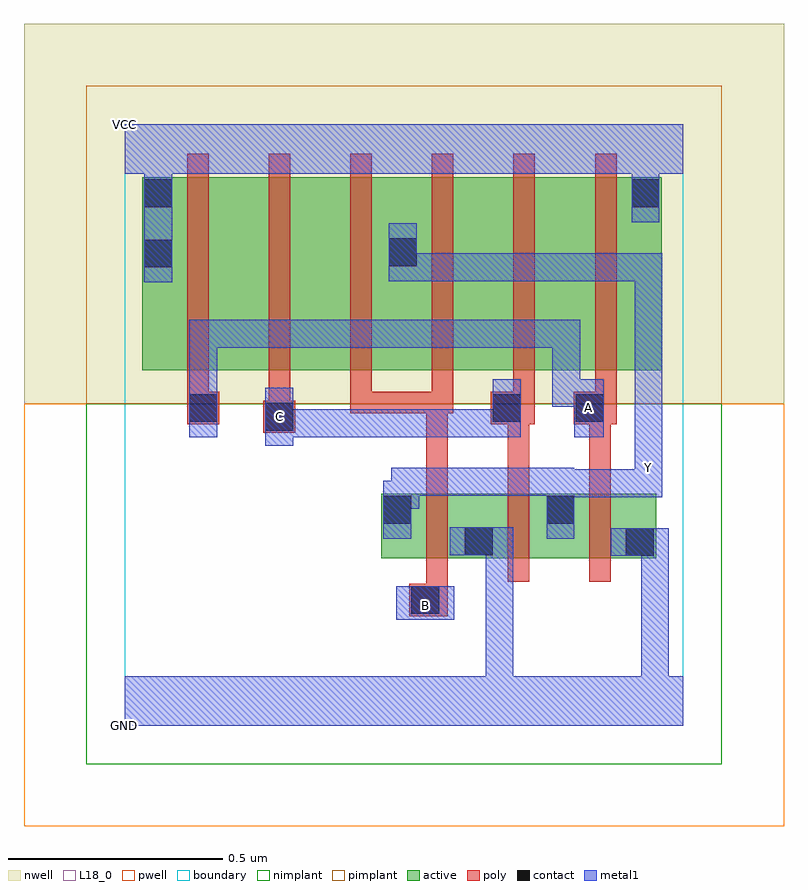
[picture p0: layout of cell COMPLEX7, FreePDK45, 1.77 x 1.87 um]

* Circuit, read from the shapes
.subckt COMPLEX7 A B C GND VCC Y
M1 GND B Y VSUBS nfet w=0.15u l=0.05u
M2 Y C GND VSUBS nfet w=0.15u l=0.05u
M3 GND A Y VSUBS nfet w=0.15u l=0.05u
M4 n1 A VCC n2 pfet w=0.45u l=0.05u
M5 n3 C n1 n2 pfet w=0.45u l=0.05u
M6 Y B n3 n2 pfet w=0.45u l=0.05u
M7 n4 B Y n2 pfet w=0.45u l=0.05u
M8 n5 C n4 n2 pfet w=0.45u l=0.05u
M9 VCC A n5 n2 pfet w=0.45u l=0.05u
.ends

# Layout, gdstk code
import gdstk
lib = gdstk.Library(unit=1e-6, precision=1e-09)
def R(c, l, rs):  # rectangles x0, y0, x1, y1
    for r in rs: c.add(gdstk.rectangle(r[:2], r[2:], *l))
def A(c, l, x, y, w, h, nx, ny, dx, dy):  # array of equal rectangles
    R(c, l, [(x+i*dx, y+j*dy, x+i*dx+w, y+j*dy+h) for i in range(nx) for j in range(ny)])
active = (1, 0)
pwell = (2, 0)
nwell = (3, 0)
nimplant = (4, 0)
pimplant = (5, 0)
poly = (9, 0)
contact = (10, 0)
metal1 = (11, 0)
L18_0 = (18, 0)
boundary = (235, 0)

complex7 = lib.new_cell('COMPLEX7')
R(complex7, active, [(0.597,0.39,0.672,0.54), (0.597,0.39,0.862,0.54), (0.787,0.39,1.052,0.54), (0.787,0.39,0.862,0.467), (0.977,0.39,1.052,0.54), (0.977,0.39,1.237,0.54), (1.162,0.39,1.237,0.54), (0.04,0.827,0.115,1.277), (0.04,0.827,0.265,1.277), (0.265,0.827,0.455,1.277), (0.455,0.827,0.685,1.277), (0.61,0.827,0.835,1.277), (0.835,0.827,1.025,1.277), (1.025,0.827,1.25,1.277), (1.175,0.827,1.25,1.277), (0.61,0.857,0.685,1.2)])
R(complex7, pwell, [(-0.235,-0.235,1.535,0.75)])
R(complex7, nwell, [(-0.235,0.75,1.535,1.635)])
R(complex7, nimplant, [(-0.09,-0.09,1.39,0.75)])
R(complex7, pimplant, [(-0.09,0.75,1.39,1.49)])
A(complex7, poly, 0.702, 0.335, 0.05, 0.26, 3, 1, 0.19, 0)
A(complex7, poly, 0.525, 0.727, 0.05, 0.095, 4, 1, 0.19, 0)
A(complex7, poly, 0.145, 0.772, 0.05, 0.56, 6, 1, 0.19, 0)
R(complex7, poly, [(0.662,0.255,0.752,0.33), (0.702,0.28,0.752,0.385), (0.702,0.545,0.752,0.777), (0.892,0.545,0.942,0.752), (1.082,0.545,1.132,0.752), (0.322,0.682,0.397,0.757), (0.145,0.702,0.22,0.777), (0.852,0.702,0.955,0.777), (1.045,0.702,1.145,0.777), (0.335,0.707,0.385,0.822), (0.145,0.727,0.195,0.822), (0.525,0.727,0.752,0.777), (0.525,0.727,0.575,0.777), (0.525,0.727,0.575,0.777), (0.525,0.727,0.575,0.777), (0.702,0.727,0.765,0.777)])
R(complex7, contact, [(0.667,0.26,0.732,0.325), (1.167,0.395,1.232,0.46), (0.792,0.397,0.857,0.462), (0.602,0.47,0.667,0.535), (0.982,0.47,1.047,0.535), (0.327,0.687,0.392,0.752), (0.15,0.707,0.215,0.772), (0.857,0.707,0.922,0.772), (1.05,0.707,1.115,0.772), (0.045,1.067,0.11,1.132), (0.615,1.07,0.68,1.135), (0.045,1.207,0.11,1.272), (1.18,1.207,1.245,1.272)])
R(complex7, metal1, [(0,0,1.3,0.115), (0.84,0.05,0.905,0.115), (0.84,0.05,0.905,0.115), (0.84,0.05,0.905,0.462), (1.202,0.05,1.267,0.46), (0.632,0.247,0.767,0.325), (1.132,0.395,1.267,0.46), (1.202,0.395,1.267,0.46), (1.202,0.395,1.267,0.46), (1.202,0.395,1.267,0.46), (1.202,0.395,1.267,0.46), (1.202,0.395,1.267,0.46), (1.202,0.395,1.267,0.46), (0.757,0.397,0.905,0.462), (0.84,0.397,0.905,0.462), (0.84,0.397,0.905,0.462), (0.84,0.397,0.905,0.462), (0.84,0.397,0.905,0.462), (0.602,0.435,0.667,0.57), (0.982,0.435,1.047,0.6), (0.602,0.505,0.685,0.57), (0.62,0.505,0.685,0.6), (0.982,0.532,1.252,0.597), (1.187,0.532,1.252,0.667), (1.187,0.532,1.252,0.597), (1.187,0.532,1.252,0.597), (1.187,0.532,1.252,0.597), (1.187,0.532,1.252,0.597), (0.62,0.535,0.91,0.6), (0.845,0.535,0.91,0.6), (0.845,0.535,0.91,0.6), (0.845,0.535,0.91,0.6), (0.845,0.535,1.047,0.6), (1.187,0.602,1.252,1.1), (0.327,0.652,0.392,0.787), (0.15,0.672,0.215,0.807), (0.327,0.672,0.392,0.737), (0.327,0.672,0.392,0.737), (0.327,0.672,0.547,0.737), (0.482,0.672,0.547,0.737), (0.482,0.672,0.685,0.737), (0.62,0.672,0.685,0.737), (0.62,0.672,0.685,0.737), (0.62,0.672,0.685,0.737), (0.62,0.672,0.91,0.737), (0.845,0.672,0.91,0.737), (0.845,0.672,0.922,0.737), (0.857,0.672,0.922,0.807), (1.047,0.672,1.115,0.807), (0.15,0.742,0.215,0.807), (0.15,0.742,0.215,0.807), (0.15,0.742,0.215,0.945), (0.995,0.742,1.06,0.807), (0.995,0.742,1.112,0.807), (0.995,0.742,1.06,0.945), (0.15,0.88,0.215,0.945), (0.15,0.88,0.392,0.945), (0.327,0.88,0.392,0.945), (0.327,0.88,0.53,0.945), (0.465,0.88,0.53,0.945), (0.465,0.88,0.53,0.945), (0.465,0.88,0.53,0.945), (0.465,0.88,0.685,0.945), (0.62,0.88,0.685,0.945), (0.62,0.88,0.772,0.945), (0.707,0.88,0.772,0.945), (0.707,0.88,0.91,0.945), (0.845,0.88,0.91,0.945), (0.845,0.88,0.91,0.945), (0.845,0.88,0.91,0.945), (0.845,0.88,1.06,0.945), (0.995,0.88,1.06,0.945), (0.045,1.032,0.11,1.307), (0.615,1.035,0.68,1.17), (0.615,1.035,0.772,1.1), (0.707,1.035,0.772,1.1), (0.707,1.035,0.91,1.1), (0.845,1.035,0.91,1.1), (0.845,1.035,0.975,1.1), (0.91,1.035,0.975,1.1), (0.91,1.035,1.047,1.1), (0.982,1.035,1.047,1.1), (0.982,1.035,1.252,1.1), (1.187,1.035,1.252,1.1), (1.187,1.035,1.252,1.1), (1.187,1.035,1.252,1.1), (1.187,1.035,1.252,1.1), (1.187,1.035,1.252,1.1), (1.18,1.172,1.245,1.307), (0.045,1.242,0.11,1.35), (1.18,1.242,1.245,1.35), (0,1.285,1.3,1.4)])
R(complex7, L18_0, [(0,0,1.3,0.115), (0.84,0.05,0.905,0.115), (0.84,0.05,0.905,0.115), (0.84,0.05,0.905,0.462), (1.202,0.05,1.267,0.46), (0.632,0.247,0.767,0.325), (0.667,0.247,0.732,0.312), (1.132,0.395,1.267,0.46), (1.202,0.395,1.267,0.46), (1.202,0.395,1.267,0.46), (1.202,0.395,1.267,0.46), (1.202,0.395,1.267,0.46), (1.202,0.395,1.267,0.46), (1.202,0.395,1.267,0.46), (0.757,0.397,0.905,0.462), (0.84,0.397,0.905,0.462), (0.84,0.397,0.905,0.462), (0.84,0.397,0.905,0.462), (0.84,0.397,0.905,0.462), (0.602,0.435,0.667,0.57), (0.982,0.435,1.047,0.6), (0.602,0.505,0.685,0.57), (0.62,0.505,0.685,0.6), (0.982,0.532,1.252,0.597), (1.187,0.532,1.252,0.667), (1.187,0.532,1.252,0.597), (1.187,0.532,1.252,0.597), (1.187,0.532,1.252,0.597), (1.187,0.532,1.252,0.597), (0.62,0.535,0.91,0.6), (0.845,0.535,0.91,0.6), (0.845,0.535,0.91,0.6), (0.845,0.535,0.91,0.6), (0.845,0.535,1.047,0.6), (1.187,0.567,1.252,0.632), (1.187,0.602,1.252,1.1), (0.327,0.652,0.392,0.787), (0.15,0.672,0.215,0.807), (0.327,0.672,0.392,0.737), (0.327,0.672,0.392,0.737), (0.327,0.672,0.547,0.737), (0.482,0.672,0.547,0.737), (0.482,0.672,0.685,0.737), (0.62,0.672,0.685,0.737), (0.62,0.672,0.685,0.737), (0.62,0.672,0.685,0.737), (0.62,0.672,0.91,0.737), (0.845,0.672,0.91,0.737), (0.845,0.672,0.922,0.737), (0.857,0.672,0.922,0.807), (1.047,0.672,1.115,0.807), (0.327,0.687,0.392,0.752), (1.047,0.707,1.112,0.772), (0.15,0.742,0.215,0.807), (0.15,0.742,0.215,0.807), (0.15,0.742,0.215,0.945), (0.995,0.742,1.06,0.807), (0.995,0.742,1.06,0.945), (0.995,0.742,1.112,0.807), (0.15,0.88,0.215,0.945), (0.15,0.88,0.392,0.945), (0.327,0.88,0.392,0.945), (0.327,0.88,0.53,0.945), (0.465,0.88,0.53,0.945), (0.465,0.88,0.53,0.945), (0.465,0.88,0.53,0.945), (0.465,0.88,0.685,0.945), (0.62,0.88,0.685,0.945), (0.62,0.88,0.772,0.945), (0.707,0.88,0.772,0.945), (0.707,0.88,0.91,0.945), (0.845,0.88,0.91,0.945), (0.845,0.88,0.91,0.945), (0.845,0.88,0.91,0.945), (0.845,0.88,1.06,0.945), (0.995,0.88,1.06,0.945), (0.045,1.032,0.11,1.307), (0.615,1.035,0.68,1.17), (0.615,1.035,0.772,1.1), (0.707,1.035,0.772,1.1), (0.707,1.035,0.91,1.1), (0.845,1.035,0.91,1.1), (0.845,1.035,0.975,1.1), (0.91,1.035,0.975,1.1), (0.91,1.035,1.047,1.1), (0.982,1.035,1.047,1.1), (0.982,1.035,1.252,1.1), (1.187,1.035,1.252,1.1), (1.187,1.035,1.252,1.1), (1.187,1.035,1.252,1.1), (1.187,1.035,1.252,1.1), (1.187,1.035,1.252,1.1), (1.18,1.172,1.245,1.307), (0.045,1.242,0.11,1.35), (1.18,1.242,1.245,1.35), (0,1.285,1.3,1.4)])
R(complex7, boundary, [(0,0,1.3,1.4)])
complex7.add(gdstk.Label('A', (1.08,0.74), layer=11, texttype=0))
complex7.add(gdstk.Label('B', (0.7,0.28), layer=11, texttype=0))
complex7.add(gdstk.Label('C', (0.36,0.72), layer=11, texttype=0))
complex7.add(gdstk.Label('Y', (1.22,0.6), layer=11, texttype=0))
complex7.add(gdstk.Label('VCC', (0,1.4), layer=11, texttype=0))
complex7.add(gdstk.Label('GND', (0,0), layer=11, texttype=0))

lib.write_gds('COMPLEX7.gds')
